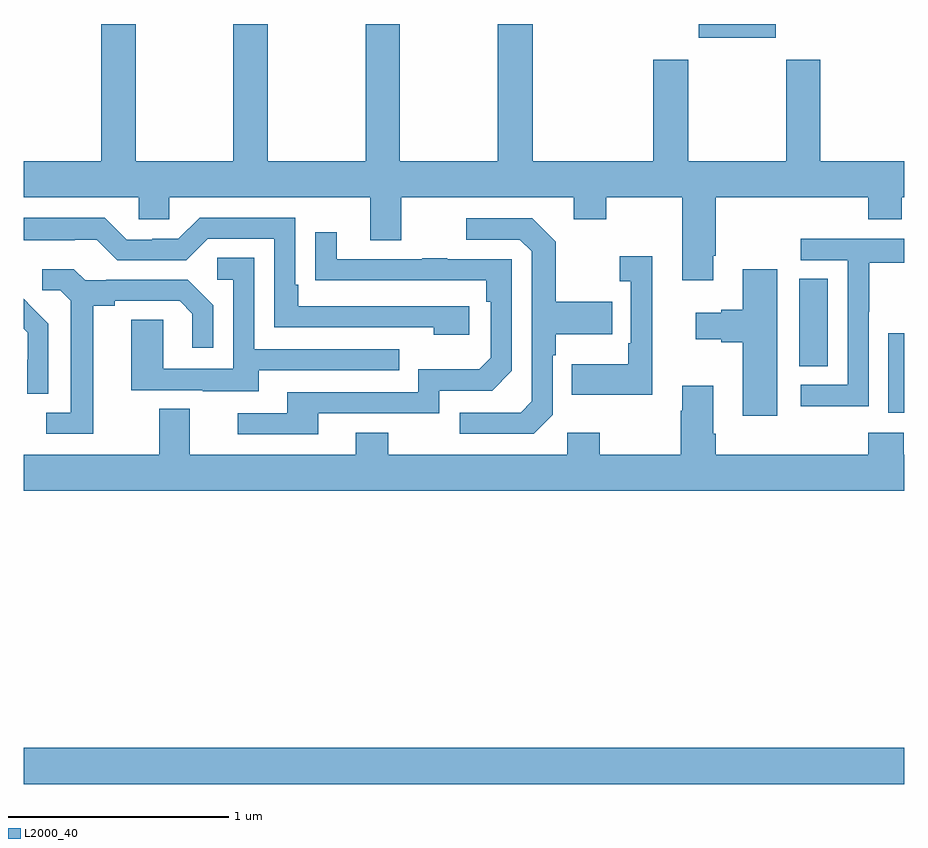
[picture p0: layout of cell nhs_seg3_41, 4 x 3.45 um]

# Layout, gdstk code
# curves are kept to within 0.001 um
import gdstk
lib = gdstk.Library(unit=1e-6, precision=1e-09)
def R(c, l, rs):  # rectangles x0, y0, x1, y1
    for r in rs: c.add(gdstk.rectangle(r[:2], r[2:], *l))
def P(c, l, *ps):  # polygons
    for p in ps: c.add(gdstk.Polygon(p, *l))
L2000_40 = (2000, 40)

nhs_seg3_41 = lib.new_cell('nhs_seg3_41')
R(nhs_seg3_41, L2000_40, [(113,668.948,117,669.112), (116.927,670.634,117,670.995), (116.522,670.846,116.653,671.243), (116.066,672.338,116.416,672.4)])
P(nhs_seg3_41, L2000_40, [(116.131,671.347),(116.144,671.347),(116.144,671.612),(116.837,671.612),(116.837,671.513),(116.989,671.513),(116.989,671.612),(117,671.612),(117,671.776),(116.619,671.776),(116.619,672.238),(116.464,672.238),(116.464,671.776),(116.019,671.776),(116.019,672.238),(115.859,672.238),(115.859,671.776),(115.313,671.776),(115.313,672.4),(115.153,672.4),(115.153,671.776),(114.708,671.776),(114.708,672.4),(114.553,672.4),(114.553,671.776),(114.108,671.776),(114.108,672.4),(113.953,672.4),(113.953,671.776),(113.508,671.776),(113.508,672.4),(113.353,672.4),(113.353,671.776),(113,671.776),(113,671.612),(113.523,671.612),(113.523,671.514),(113.661,671.514),(113.661,671.612),(114.575,671.612),(114.575,671.418),(114.715,671.418),(114.715,671.612),(115.499,671.612),(115.499,671.513),(115.647,671.513),(115.647,671.612),(115.991,671.612),(115.991,671.235),(116.131,671.235)],
  [(115.024,671.118),(114.247,671.118),(114.247,671.215),(114.234,671.215),(114.234,671.52),(113.799,671.52),(113.703,671.424),(113.585,671.424),(113.585,671.421),(113.469,671.421),(113.369,671.521),(113,671.521),(113,671.417),(113.231,671.417),(113.231,671.421),(113.331,671.421),(113.424,671.328),(113.739,671.328),(113.835,671.424),(114.138,671.424),(114.138,671.022),(114.863,671.022),(114.863,670.988),(115.024,670.988)],
  [(115.404,670.626),(115.404,670.895),(115.417,670.895),(115.417,670.991),(115.673,670.991),(115.673,671.139),(115.417,671.139),(115.417,671.411),(115.311,671.517),(115.011,671.517),(115.011,671.421),(115.254,671.421),(115.308,671.367),(115.308,670.686),(115.257,670.635),(114.981,670.635),(114.981,670.539),(115.317,670.539)],
  [(114.337,670.632),(114.888,670.632),(114.888,670.734),(115.128,670.734),(115.218,670.824),(115.218,671.331),(114.923,671.331),(114.923,671.336),(114.811,671.336),(114.811,671.331),(114.421,671.331),(114.421,671.455),(114.325,671.455),(114.325,671.236),(115.102,671.235),(115.102,671.138),(115.122,671.138),(115.122,670.884),(115.069,670.831),(114.792,670.831),(114.792,670.728),(114.197,670.728),(114.197,670.632),(113.973,670.632),(113.973,670.536),(114.337,670.536)],
  [(116.838,671.092),(116.841,671.092),(116.841,671.316),(117,671.316),(117,671.424),(116.529,671.424),(116.529,671.328),(116.742,671.328),(116.742,670.761),(116.529,670.761),(116.529,670.663),(116.838,670.663)],
  [(115.856,671.344),(115.707,671.344),(115.707,671.231),(115.758,671.231),(115.758,670.951),(115.746,670.951),(115.746,670.855),(115.489,670.855),(115.489,670.715),(115.856,670.715)],
  [(114.067,670.827),(114.707,670.827),(114.707,670.923),(114.048,670.923),(114.048,671.339),(113.88,671.339),(113.88,671.238),(113.952,671.238),(113.952,670.833),(113.634,670.833),(113.634,671.057),(113.489,671.057),(113.489,670.737),(113.813,670.737),(113.813,670.733),(114.067,670.733)],
  [(116.422,671.287),(116.267,671.287),(116.267,671.102),(116.168,671.102),(116.168,671.089),(116.052,671.089),(116.052,670.967),(116.168,670.967),(116.168,670.955),(116.267,670.955),(116.267,670.62),(116.422,670.62)],
  [(113.317,671.12),(113.413,671.12),(113.413,671.142),(113.708,671.142),(113.765,671.085),(113.765,670.929),(113.862,670.929),(113.862,671.122),(113.746,671.238),(113.374,671.238),(113.374,671.235),(113.28,671.235),(113.228,671.287),(113.085,671.287),(113.085,671.19),(113.166,671.19),(113.213,671.143),(113.213,670.635),(113.103,670.635),(113.103,670.539),(113.317,670.539)],
  [(113.112,671.038),(113.039,671.111),(113.04,671.112),(113,671.152),(113,671.015),(113.018,670.997),(113.018,670.874),(113.016,670.874),(113.016,670.72),(113.112,670.72)],
  [(117,670.444),(116.997,670.444),(116.997,670.543),(116.837,670.543),(116.837,670.444),(116.144,670.444),(116.144,670.54),(116.131,670.54),(116.131,670.756),(115.991,670.756),(115.991,670.643),(115.984,670.643),(115.984,670.444),(115.617,670.444),(115.617,670.543),(115.47,670.543),(115.47,670.444),(114.657,670.444),(114.657,670.543),(114.509,670.543),(114.509,670.444),(113.755,670.444),(113.755,670.652),(113.615,670.652),(113.615,670.444),(113,670.444),(113,670.28),(117,670.28)])

lib.write_gds('nhs_seg3_41.gds')
